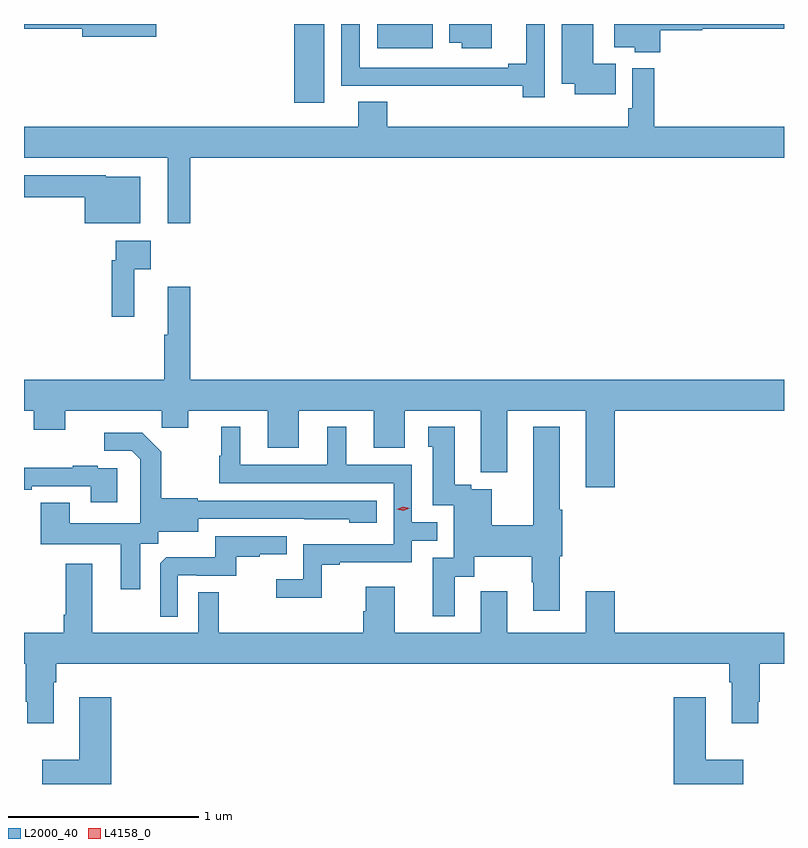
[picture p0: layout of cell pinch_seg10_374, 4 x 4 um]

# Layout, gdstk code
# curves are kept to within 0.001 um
import gdstk
lib = gdstk.Library(unit=1e-6, precision=1e-09)
def R(c, l, rs):  # rectangles x0, y0, x1, y1
    for r in rs: c.add(gdstk.rectangle(r[:2], r[2:], *l))
def P(c, l, *ps):  # polygons
    for p in ps: c.add(gdstk.Polygon(p, *l))
L2000_40 = (2000, 40)
L4158_0 = (4158, 0)

pinch_seg10_374 = lib.new_cell('pinch_seg10_374')
R(pinch_seg10_374, L2000_40, [(626.666,1264.641,626.824,1265.056), (627.101,1264.928,627.394,1265.056)])
P(pinch_seg10_374, L2000_40, [(628.592,1265.024),(628.812,1265.024),(628.812,1265.032),(629.243,1265.032),(629.243,1265.056),(628.349,1265.056),(628.349,1264.934),(628.458,1264.934),(628.458,1264.907),(628.592,1264.907)],
  [(625.939,1265.056),(625.243,1265.056),(625.243,1265.032),(625.55,1265.032),(625.55,1264.99),(625.939,1264.99)],
  [(627.706,1265.056),(627.482,1265.056),(627.482,1264.958),(627.548,1264.958),(627.548,1264.928),(627.706,1264.928)],
  [(627.984,1265.056),(627.887,1265.056),(627.887,1264.847),(627.791,1264.847),(627.791,1264.827),(627.009,1264.827),(627.009,1265.056),(626.913,1265.056),(626.913,1264.731),(627.238,1264.731),(627.238,1264.73),(627.868,1264.73),(627.868,1264.671),(627.984,1264.671)],
  [(628.358,1264.846),(628.24,1264.846),(628.24,1265.056),(628.073,1265.056),(628.073,1264.742),(628.142,1264.742),(628.142,1264.685),(628.358,1264.685)],
  [(626.117,1264.352),(629.243,1264.352),(629.243,1264.516),(628.559,1264.516),(628.559,1264.822),(628.443,1264.822),(628.443,1264.612),(628.423,1264.612),(628.423,1264.516),(627.155,1264.516),(627.155,1264.646),(627.002,1264.646),(627.002,1264.516),(625.243,1264.516),(625.243,1264.352),(626,1264.352),(626,1264.008),(626.117,1264.008)],
  [(625.855,1264.252),(625.674,1264.252),(625.674,1264.26),(625.243,1264.26),(625.243,1264.144),(625.562,1264.144),(625.562,1264.007),(625.855,1264.007)],
  [(625.823,1263.764),(625.909,1263.764),(625.909,1263.916),(625.725,1263.916),(625.725,1263.812),(625.705,1263.812),(625.705,1263.516),(625.823,1263.516)],
  [(628.352,1263.02),(629.243,1263.02),(629.243,1263.184),(626.117,1263.184),(626.117,1263.673),(626,1263.673),(626,1263.42),(625.981,1263.42),(625.981,1263.184),(625.243,1263.184),(625.243,1263.02),(625.295,1263.02),(625.295,1262.921),(625.459,1262.921),(625.459,1263.02),(625.969,1263.02),(625.969,1262.93),(626.107,1262.93),(626.107,1263.02),(626.525,1263.02),(626.525,1262.826),(626.689,1262.826),(626.689,1263.02),(627.083,1263.02),(627.083,1262.826),(627.247,1262.826),(627.247,1263.02),(627.647,1263.02),(627.647,1262.697),(627.787,1262.697),(627.787,1263.02),(628.199,1263.02),(628.199,1262.619),(628.352,1262.619)],
  [(627.511,1262.146),(627.613,1262.146),(627.613,1262.252),(627.916,1262.252),(627.916,1262.118),(627.923,1262.118),(627.923,1261.968),(628.063,1261.968),(628.063,1262.256),(628.076,1262.256),(628.076,1262.5),(628.063,1262.5),(628.063,1262.935),(627.923,1262.935),(627.923,1262.417),(627.706,1262.417),(627.706,1262.608),(627.597,1262.608),(627.597,1262.632),(627.511,1262.632),(627.511,1262.935),(627.371,1262.935),(627.371,1262.832),(627.395,1262.832),(627.395,1262.523),(627.504,1262.523),(627.504,1262.247),(627.395,1262.247),(627.395,1261.938),(627.511,1261.938)],
  [(626.811,1262.211),(626.905,1262.211),(626.905,1262.223),(627.285,1262.223),(627.285,1262.337),(627.418,1262.337),(627.418,1262.433),(627.285,1262.433),(627.285,1262.736),(626.938,1262.736),(626.938,1262.935),(626.84,1262.935),(626.84,1262.736),(626.38,1262.736),(626.38,1262.935),(626.282,1262.935),(626.282,1262.784),(626.271,1262.784),(626.271,1262.64),(627.189,1262.64),(627.189,1262.319),(626.712,1262.319),(626.712,1262.134),(626.571,1262.134),(626.571,1262.036),(626.811,1262.036)],
  [(625.855,1262.32),(625.95,1262.32),(625.95,1262.384),(626.161,1262.384),(626.161,1262.451),(626.955,1262.45),(626.955,1262.432),(627.1,1262.432),(627.1,1262.547),(626.157,1262.547),(626.157,1262.56),(625.965,1262.56),(625.965,1262.805),(625.865,1262.905),(625.665,1262.905),(625.665,1262.811),(625.809,1262.811),(625.856,1262.764),(625.856,1262.669),(625.854,1262.669),(625.854,1262.428),(625.483,1262.428),(625.483,1262.537),(625.331,1262.537),(625.331,1262.318),(625.751,1262.318),(625.751,1262.082),(625.855,1262.082)],
  [(625.735,1262.718),(625.631,1262.718),(625.631,1262.731),(625.499,1262.731),(625.499,1262.72),(625.243,1262.72),(625.243,1262.604),(625.285,1262.604),(625.285,1262.622),(625.595,1262.622),(625.595,1262.538),(625.735,1262.538)],
  [(626.052,1262.154),(626.152,1262.154),(626.152,1262.151),(626.36,1262.151),(626.36,1262.253),(626.483,1262.253),(626.483,1262.264),(626.627,1262.264),(626.627,1262.361),(626.25,1262.361),(626.25,1262.249),(625.991,1262.249),(625.959,1262.217),(625.959,1261.937),(626.052,1261.937)],
  [(625.399,1261.592),(625.412,1261.592),(625.412,1261.688),(628.955,1261.688),(628.955,1261.592),(628.967,1261.592),(628.967,1261.377),(629.107,1261.377),(629.107,1261.489),(629.115,1261.489),(629.115,1261.688),(629.243,1261.688),(629.243,1261.852),(628.352,1261.852),(628.352,1262.071),(628.199,1262.071),(628.199,1261.852),(627.787,1261.852),(627.787,1262.071),(627.647,1262.071),(627.647,1261.852),(627.193,1261.852),(627.193,1262.095),(627.041,1262.095),(627.041,1261.965),(627.029,1261.965),(627.029,1261.852),(626.269,1261.852),(626.269,1262.066),(626.16,1262.066),(626.16,1261.852),(625.603,1261.852),(625.603,1262.215),(625.463,1262.215),(625.463,1261.948),(625.451,1261.948),(625.451,1261.852),(625.243,1261.852),(625.243,1261.688),(625.252,1261.688),(625.252,1261.489),(625.259,1261.489),(625.259,1261.377),(625.399,1261.377)],
  [(629.029,1261.183),(628.831,1261.183),(628.831,1261.513),(628.664,1261.513),(628.664,1261.056),(629.029,1261.056)],
  [(625.703,1261.513),(625.535,1261.513),(625.535,1261.183),(625.338,1261.183),(625.338,1261.056),(625.703,1261.056)])
P(pinch_seg10_374, L4158_0, [(627.24,1262.495),(627.205,1262.503),(627.204,1262.503),(627.205,1262.503),(627.238,1262.515),(627.273,1262.507),(627.273,1262.507),(627.273,1262.507)])

lib.write_gds('pinch_seg10_374.gds')
